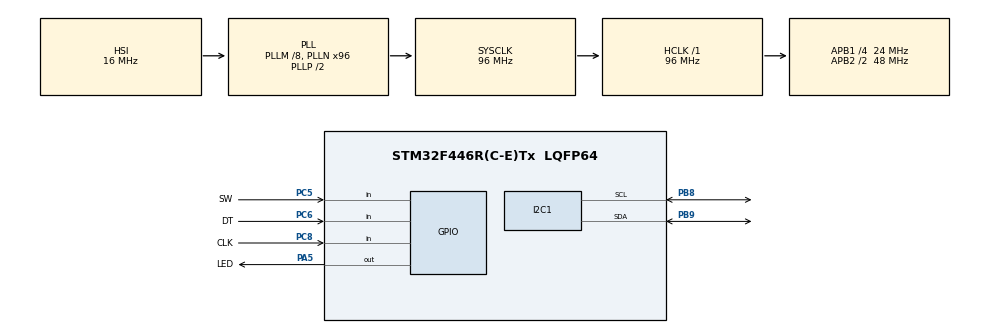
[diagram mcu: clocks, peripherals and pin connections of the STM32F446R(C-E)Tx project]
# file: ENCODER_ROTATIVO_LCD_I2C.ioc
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Mcu.Family=STM32F4
Mcu.Name=STM32F446R(C-E)Tx
Mcu.Package=LQFP64
NVIC.PriorityGroup=NVIC_PRIORITYGROUP_4
NVIC.TIM6_DAC_IRQn=true\:0\:0\:false\:false\:true\:true\:true\:true
PA13.Mode=Serial_Wire
PA13.Signal=SYS_JTMS-SWDIO
PA14.Mode=Serial_Wire
PA14.Signal=SYS_JTCK-SWCLK
PA5.GPIO_Label=LED
PA5.GPIO_Speed=GPIO_SPEED_FREQ_HIGH
PA5.Signal=GPIO_Output
PB8.Mode=I2C
PB8.Signal=I2C1_SCL
PB9.Mode=I2C
PB9.Signal=I2C1_SDA
PC5.GPIO_Label=SW
PC5.GPIO_Mode=GPIO_MODE_INPUT
PC5.Signal=GPIO_Input
PC6.GPIO_Label=DT
PC6.Signal=GPIO_Input
PC8.GPIO_Label=CLK
PC8.Signal=GPIO_Input
ProjectManager.HeapSize=0x200
ProjectManager.StackSize=0x400
ProjectManager.TargetToolchain=STM32CubeIDE
RCC.AHBFreq_Value=96000000
RCC.APB1CLKDivider=RCC_HCLK_DIV4
RCC.APB1Freq_Value=24000000
RCC.APB1TimFreq_Value=48000000
RCC.APB2CLKDivider=RCC_HCLK_DIV2
RCC.APB2Freq_Value=48000000
RCC.APB2TimFreq_Value=96000000
RCC.CortexFreq_Value=96000000
RCC.HCLKFreq_Value=96000000
RCC.PLLM=8
RCC.PLLN=96
RCC.SYSCLKFreq_VALUE=96000000
RCC.SYSCLKSource=RCC_SYSCLKSOURCE_PLLCLK
RCC.USBFreq_Value=96000000
RCC.VCOOutputFreq_Value=192000000
TIM6.Period=5-1
TIM6.Prescaler=48000-1
VP_TIM6_VS_ClockSourceINT.Mode=Enable_Timer
board=custom

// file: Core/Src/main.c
/* USER CODE BEGIN Header */
/**
  ******************************************************************************
  * @file           : main.c
  * @brief          : Main program body
  ******************************************************************************
  * @attention
  *
  * Copyright (c) 2022 STMicroelectronics.
  * All rights reserved.
  *
  * This software is licensed under terms that can be found in the LICENSE file
  * in the root directory of this software component.
  * If no LICENSE file comes with this software, it is provided AS-IS.
  *
  ******************************************************************************
  */
/* USER CODE END Header */
#include "main.h"

/* USER CODE BEGIN Includes */
#include "stdio.h"
#include "LCD_I2C.h"
#include "ENCODER_ROT.h"

/* USER CODE END Includes */

I2C_HandleTypeDef hi2c1;

TIM_HandleTypeDef htim6;

/* USER CODE BEGIN PV */
char buff[16];
uint8_t encoder;
uint8_t mem=0,suma=0;//variables para el pulsador del encoder

/* USER CODE END PV */

void SystemClock_Config(void);
static void MX_GPIO_Init(void);
static void MX_I2C1_Init(void);
static void MX_TIM6_Init(void);

int main(void)
{

  /* MCU Configuration--------------------------------------------------------*/

  /* Reset of all peripherals, Initializes the Flash interface and the Systick. */
  HAL_Init();

  /* Configure the system clock */
  SystemClock_Config();

  /* Initialize all configured peripherals */
  MX_GPIO_Init();
  MX_I2C1_Init();
  MX_TIM6_Init();
  /* USER CODE BEGIN 2 */
  HAL_TIM_Base_Start_IT(&htim6);
  /* USER CODE END 2 */

  /* Infinite loop */
  /* USER CODE BEGIN WHILE */

  LCD_I2C_Init();
  LCD_I2C_WriteText(0,0,"PIC18F2550/4550 ");
  LCD_I2C_WriteText(1,0,"ENCODER ROTATIVO");
  HAL_Delay(1500);
  LCD_I2C_ClearText();

  //extern int8_t vol;

  while (1)
  {
      sprintf(buff,"Encoder: %2d",encoder);
      LCD_I2C_WriteText(0,0,buff);

      //Lo que hace es lo mismo que un toggle, solo con mi logica de programacio y sin delay
      if(!HAL_GPIO_ReadPin(SW_GPIO_Port, SW_Pin) && !mem){mem = 1;}
      if( HAL_GPIO_ReadPin(SW_GPIO_Port, SW_Pin) &&  mem){mem = 0; suma++;}
      if(suma==1){
          suma=2;  //cambio el contador para que solo haga una vez todo lo que esta dentro del if
          HAL_GPIO_WritePin(LED_GPIO_Port, LED_Pin, SET);
          LCD_I2C_WriteText(1,0,"LED = ON ");
      }
      if(suma==3){
          suma=0; //cambio el contador para que solo haga una vez todo lo que esta dentro del if
          HAL_GPIO_WritePin(LED_GPIO_Port, LED_Pin, RESET);
          LCD_I2C_WriteText(1,0,"LED = OFF");
      }
    /* USER CODE END WHILE */

  }
}

void SystemClock_Config(void)
{
  RCC_OscInitTypeDef RCC_OscInitStruct = {0};
  RCC_ClkInitTypeDef RCC_ClkInitStruct = {0};

  /** Configure the main internal regulator output voltage
  */
  __HAL_RCC_PWR_CLK_ENABLE();
  __HAL_PWR_VOLTAGESCALING_CONFIG(PWR_REGULATOR_VOLTAGE_SCALE3);

  /** Initializes the RCC Oscillators according to the specified parameters
  * in the RCC_OscInitTypeDef structure.
  */
  RCC_OscInitStruct.OscillatorType = RCC_OSCILLATORTYPE_HSI;
  RCC_OscInitStruct.HSIState = RCC_HSI_ON;
  RCC_OscInitStruct.HSICalibrationValue = RCC_HSICALIBRATION_DEFAULT;
  RCC_OscInitStruct.PLL.PLLState = RCC_PLL_ON;
  RCC_OscInitStruct.PLL.PLLSource = RCC_PLLSOURCE_HSI;
  RCC_OscInitStruct.PLL.PLLM = 8;
  RCC_OscInitStruct.PLL.PLLN = 96;
  RCC_OscInitStruct.PLL.PLLP = RCC_PLLP_DIV2;
  RCC_OscInitStruct.PLL.PLLQ = 2;
  RCC_OscInitStruct.PLL.PLLR = 2;
  if (HAL_RCC_OscConfig(&RCC_OscInitStruct) != HAL_OK)
  {
    Error_Handler();
  }

  /** Initializes the CPU, AHB and APB buses clocks
  */
  RCC_ClkInitStruct.ClockType = RCC_CLOCKTYPE_HCLK|RCC_CLOCKTYPE_SYSCLK
                              |RCC_CLOCKTYPE_PCLK1|RCC_CLOCKTYPE_PCLK2;
  RCC_ClkInitStruct.SYSCLKSource = RCC_SYSCLKSOURCE_PLLCLK;
  RCC_ClkInitStruct.AHBCLKDivider = RCC_SYSCLK_DIV1;
  RCC_ClkInitStruct.APB1CLKDivider = RCC_HCLK_DIV4;
  RCC_ClkInitStruct.APB2CLKDivider = RCC_HCLK_DIV2;

  if (HAL_RCC_ClockConfig(&RCC_ClkInitStruct, FLASH_LATENCY_3) != HAL_OK)
  {
    Error_Handler();
  }
}

static void MX_I2C1_Init(void)
{

  hi2c1.Instance = I2C1;
  hi2c1.Init.ClockSpeed = 100000;
  hi2c1.Init.DutyCycle = I2C_DUTYCYCLE_2;
  hi2c1.Init.OwnAddress1 = 0;
  hi2c1.Init.AddressingMode = I2C_ADDRESSINGMODE_7BIT;
  hi2c1.Init.DualAddressMode = I2C_DUALADDRESS_DISABLE;
  hi2c1.Init.OwnAddress2 = 0;
  hi2c1.Init.GeneralCallMode = I2C_GENERALCALL_DISABLE;
  hi2c1.Init.NoStretchMode = I2C_NOSTRETCH_DISABLE;
  if (HAL_I2C_Init(&hi2c1) != HAL_OK)
  {
    Error_Handler();
  }

}

static void MX_TIM6_Init(void)
{

  TIM_MasterConfigTypeDef sMasterConfig = {0};

  htim6.Instance = TIM6;
  htim6.Init.Prescaler = 48000-1;
  htim6.Init.CounterMode = TIM_COUNTERMODE_UP;
  htim6.Init.Period = 5-1;
  htim6.Init.AutoReloadPreload = TIM_AUTORELOAD_PRELOAD_DISABLE;
  if (HAL_TIM_Base_Init(&htim6) != HAL_OK)
  {
    Error_Handler();
  }
  sMasterConfig.MasterOutputTrigger = TIM_TRGO_RESET;
  sMasterConfig.MasterSlaveMode = TIM_MASTERSLAVEMODE_DISABLE;
  if (HAL_TIMEx_MasterConfigSynchronization(&htim6, &sMasterConfig) != HAL_OK)
  {
    Error_Handler();
  }

}

static void MX_GPIO_Init(void)
{
  GPIO_InitTypeDef GPIO_InitStruct = {0};

  /* GPIO Ports Clock Enable */
  __HAL_RCC_GPIOA_CLK_ENABLE();
  __HAL_RCC_GPIOC_CLK_ENABLE();
  __HAL_RCC_GPIOB_CLK_ENABLE();

  /*Configure GPIO pin Output Level */
  HAL_GPIO_WritePin(LED_GPIO_Port, LED_Pin, GPIO_PIN_RESET);

  /*Configure GPIO pin : LED_Pin */
  GPIO_InitStruct.Pin = LED_Pin;
  GPIO_InitStruct.Mode = GPIO_MODE_OUTPUT_PP;
  GPIO_InitStruct.Pull = GPIO_NOPULL;
  GPIO_InitStruct.Speed = GPIO_SPEED_FREQ_HIGH;
  HAL_GPIO_Init(LED_GPIO_Port, &GPIO_InitStruct);

  /*Configure GPIO pins : SW_Pin DT_Pin CLK_Pin */
  GPIO_InitStruct.Pin = SW_Pin|DT_Pin|CLK_Pin;
  GPIO_InitStruct.Mode = GPIO_MODE_INPUT;
  GPIO_InitStruct.Pull = GPIO_NOPULL;
  HAL_GPIO_Init(GPIOC, &GPIO_InitStruct);

}

/* USER CODE BEGIN 4 */
void HAL_TIM_PeriodElapsedCallback(TIM_HandleTypeDef *htim) {
	if (htim->Instance == TIM6) {//Leemos el encoder cada 5ms
		encoder = Encoder_Run();
	}
}
/* USER CODE END 4 */

void Error_Handler(void)
{
  __disable_irq();
  while (1)
  {
  }
}
